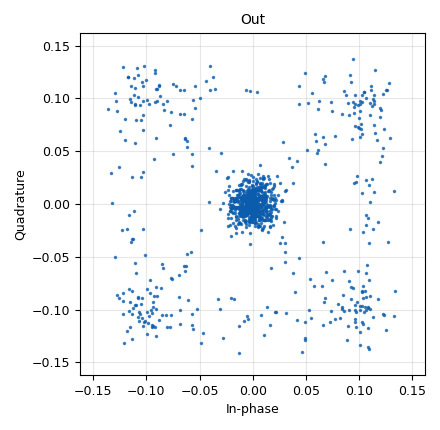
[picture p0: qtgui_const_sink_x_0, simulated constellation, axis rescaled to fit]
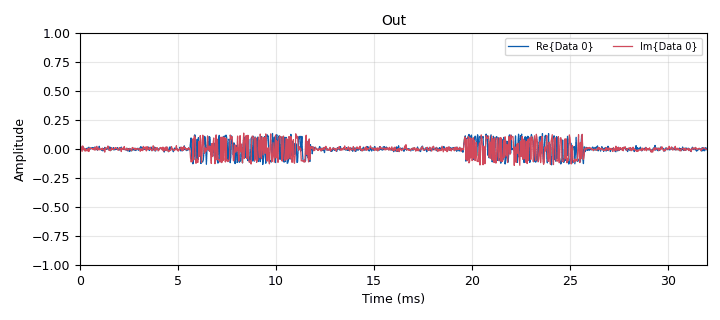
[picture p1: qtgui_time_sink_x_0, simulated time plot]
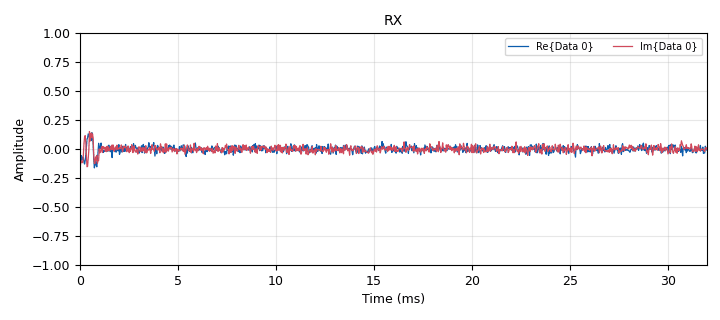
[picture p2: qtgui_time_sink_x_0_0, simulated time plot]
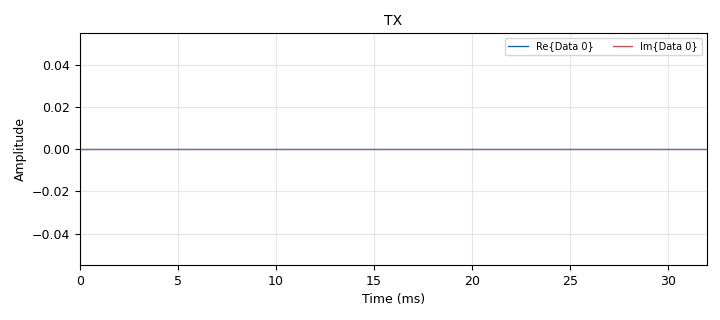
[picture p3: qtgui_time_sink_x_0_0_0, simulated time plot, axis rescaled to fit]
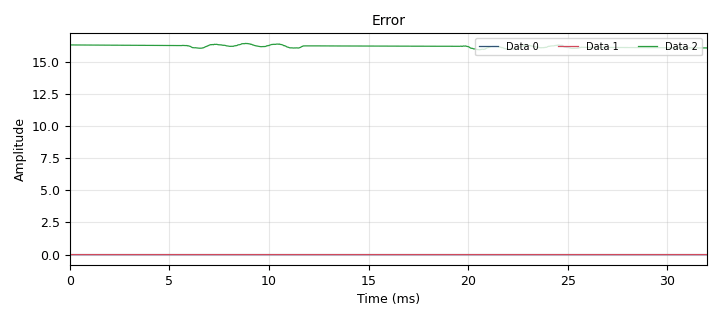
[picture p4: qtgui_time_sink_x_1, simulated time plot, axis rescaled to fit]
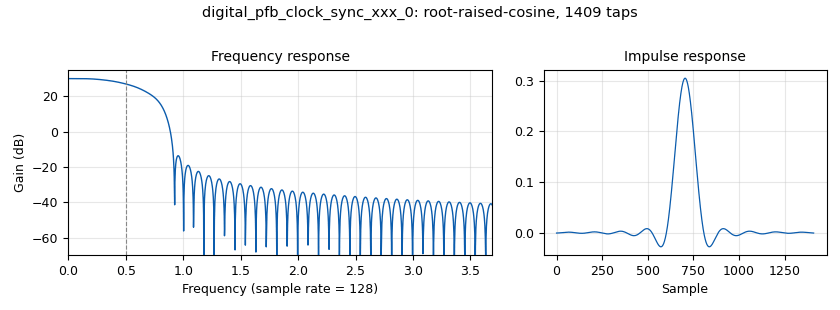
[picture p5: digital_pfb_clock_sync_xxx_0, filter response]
<?xml version='1.0' encoding='utf-8'?>
<?grc format='1' created='3.7.8'?>
<flow_graph>
<block>
<key>options</key>
<param><key>id</key><value>top_block</value></param>
<param><key>category</key><value>Custom</value></param>
<param><key>generate_options</key><value>qt_gui</value></param>
</block>
<block>
<key>variable_qtgui_range</key>
<param><key>id</key><value>range_loop_bw</value></param>
<param><key>value</key><value>0.06</value></param>
<param><key>label</key><value>Loop BW</value></param>
<param><key>orient</key><value>Qt.Horizontal</value></param>
<param><key>start</key><value>0</value></param>
<param><key>step</key><value>0.01</value></param>
<param><key>stop</key><value>1</value></param>
</block>
<block>
<key>variable_qtgui_range</key>
<param><key>id</key><value>range_tx_ampl</value></param>
<param><key>value</key><value>0.1</value></param>
<param><key>label</key><value>Ampl</value></param>
<param><key>orient</key><value>Qt.Horizontal</value></param>
<param><key>start</key><value>0</value></param>
<param><key>step</key><value>0.01</value></param>
<param><key>stop</key><value>1</value></param>
</block>
<block>
<key>variable</key>
<param><key>id</key><value>samp_rate</value></param>
<param><key>value</key><value>32000</value></param>
</block>
<block>
<key>analog_fastnoise_source_x</key>
<param><key>id</key><value>analog_fastnoise_source_x_0</value></param>
<param><key>amp</key><value>1</value></param>
<param><key>_enabled</key><value>False</value></param>
<param><key>noise_type</key><value>analog.GR_GAUSSIAN</value></param>
<param><key>type</key><value>complex</value></param>
<param><key>seed</key><value>0</value></param>
<param><key>samples</key><value>8192</value></param>
</block>
<block>
<key>blocks_message_strobe</key>
<param><key>id</key><value>blocks_message_strobe_0</value></param>
<param><key>msg</key><value>pmt.intern("TEST")</value></param>
<param><key>period</key><value>1000</value></param>
</block>
<block>
<key>blocks_multiply_const_vxx</key>
<param><key>id</key><value>blocks_multiply_const_vxx_0</value></param>
<param><key>const</key><value>range_tx_ampl</value></param>
<param><key>type</key><value>complex</value></param>
</block>
<block>
<key>blocks_pdu_to_tagged_stream</key>
<param><key>id</key><value>blocks_pdu_to_tagged_stream_0</value></param>
<param><key>type</key><value>byte</value></param>
<param><key>tag</key><value>packet_len</value></param>
</block>
<block>
<key>blocks_random_pdu</key>
<param><key>id</key><value>blocks_random_pdu_0</value></param>
<param><key>mask</key><value>0xFF</value></param>
<param><key>length_modulo</key><value>1</value></param>
<param><key>maxsize</key><value>50</value></param>
<param><key>minsize</key><value>50</value></param>
</block>
<block>
<key>blocks_stream_to_tagged_stream</key>
<param><key>id</key><value>blocks_stream_to_tagged_stream_0</value></param>
<param><key>len_tag_key</key><value>"packet_len"</value></param>
<param><key>packet_len</key><value>1024</value></param>
<param><key>type</key><value>complex</value></param>
</block>
<block>
<key>blocks_tagged_stream_multiply_length</key>
<param><key>id</key><value>blocks_tagged_stream_multiply_length_0</value></param>
<param><key>type</key><value>complex</value></param>
<param><key>c</key><value>16</value></param>
<param><key>lengthtagname</key><value>"packet_len"</value></param>
</block>
<block>
<key>blocks_tagged_stream_mux</key>
<param><key>id</key><value>blocks_tagged_stream_mux_0</value></param>
<param><key>type</key><value>complex</value></param>
<param><key>lengthtagname</key><value>packet_len</value></param>
<param><key>maxoutbuf</key><value>16000</value></param>
<param><key>ninputs</key><value>2</value></param>
</block>
<block>
<key>blocks_throttle</key>
<param><key>id</key><value>blocks_throttle_0</value></param>
<param><key>samples_per_second</key><value>samp_rate</value></param>
<param><key>type</key><value>complex</value></param>
</block>
<block>
<key>blocks_vector_source_x</key>
<param><key>id</key><value>blocks_vector_source_x_0</value></param>
<param><key>type</key><value>complex</value></param>
<param><key>repeat</key><value>True</value></param>
<param><key>vector</key><value>(0,0)*128</value></param>
</block>
<block>
<key>channels_channel_model</key>
<param><key>id</key><value>channels_channel_model_0</value></param>
<param><key>block_tags</key><value>True</value></param>
<param><key>epsilon</key><value>1.02</value></param>
<param><key>freq_offset</key><value>0.0</value></param>
<param><key>noise_voltage</key><value>0.03</value></param>
<param><key>seed</key><value>0</value></param>
<param><key>taps</key><value>1.0 + 1.0j</value></param>
</block>
<block>
<key>digital_pfb_clock_sync_xxx</key>
<param><key>id</key><value>digital_pfb_clock_sync_xxx_0</value></param>
<param><key>filter_size</key><value>32</value></param>
<param><key>init_phase</key><value>16</value></param>
<param><key>loop_bw</key><value>range_loop_bw</value></param>
<param><key>max_dev</key><value>2</value></param>
<param><key>osps</key><value>1</value></param>
<param><key>sps</key><value>4</value></param>
<param><key>taps</key><value>gnuradio.filter.firdes.root_raised_cosine(32,32*4,1,0.8,44*32)</value></param>
<param><key>type</key><value>ccf</value></param>
</block>
<block>
<key>digital_psk_mod</key>
<param><key>id</key><value>digital_psk_mod_0</value></param>
<param><key>differential</key><value>False</value></param>
<param><key>excess_bw</key><value>0.8</value></param>
<param><key>mod_code</key><value>"none"</value></param>
<param><key>constellation_points</key><value>4</value></param>
<param><key>samples_per_symbol</key><value>4</value></param>
</block>
<block>
<key>import</key>
<param><key>id</key><value>import_0</value></param>
<param><key>import</key><value>import gnuradio</value></param>
</block>
<block>
<key>qtgui_const_sink_x</key>
<param><key>id</key><value>qtgui_const_sink_x_0</value></param>
<param><key>gui_hint</key><value>tab@1</value></param>
<param><key>name</key><value>"Out"</value></param>
<param><key>size</key><value>1024</value></param>
<param><key>type</key><value>complex</value></param>
</block>
<block>
<key>qtgui_time_sink_x</key>
<param><key>id</key><value>qtgui_time_sink_x_0</value></param>
<param><key>gui_hint</key><value>tab@1</value></param>
<param><key>color1</key><value>"blue"</value></param>
<param><key>label1</key><value></value></param>
<param><key>color2</key><value>"red"</value></param>
<param><key>label2</key><value></value></param>
<param><key>name</key><value>"Out"</value></param>
<param><key>size</key><value>1024</value></param>
<param><key>srate</key><value>samp_rate</value></param>
<param><key>type</key><value>complex</value></param>
</block>
<block>
<key>qtgui_time_sink_x</key>
<param><key>id</key><value>qtgui_time_sink_x_0_0</value></param>
<param><key>gui_hint</key><value>tab@0</value></param>
<param><key>color1</key><value>"blue"</value></param>
<param><key>label1</key><value></value></param>
<param><key>color2</key><value>"red"</value></param>
<param><key>label2</key><value></value></param>
<param><key>name</key><value>"RX"</value></param>
<param><key>size</key><value>1024</value></param>
<param><key>srate</key><value>samp_rate</value></param>
<param><key>type</key><value>complex</value></param>
</block>
<block>
<key>qtgui_time_sink_x</key>
<param><key>id</key><value>qtgui_time_sink_x_0_0_0</value></param>
<param><key>gui_hint</key><value>tab@0</value></param>
<param><key>color1</key><value>"blue"</value></param>
<param><key>label1</key><value></value></param>
<param><key>color2</key><value>"red"</value></param>
<param><key>label2</key><value></value></param>
<param><key>name</key><value>"TX"</value></param>
<param><key>size</key><value>1024</value></param>
<param><key>srate</key><value>samp_rate</value></param>
<param><key>type</key><value>complex</value></param>
</block>
<block>
<key>qtgui_time_sink_x</key>
<param><key>id</key><value>qtgui_time_sink_x_1</value></param>
<param><key>gui_hint</key><value>tab@2</value></param>
<param><key>color1</key><value>"blue"</value></param>
<param><key>label1</key><value></value></param>
<param><key>color2</key><value>"red"</value></param>
<param><key>label2</key><value></value></param>
<param><key>color3</key><value>"green"</value></param>
<param><key>label3</key><value></value></param>
<param><key>name</key><value>"Error"</value></param>
<param><key>nconnections</key><value>3</value></param>
<param><key>size</key><value>1024</value></param>
<param><key>srate</key><value>samp_rate</value></param>
<param><key>type</key><value>float</value></param>
</block>
<block>
<key>qtgui_tab_widget</key>
<param><key>id</key><value>tab</value></param>
<param><key>label0</key><value>Tab 0</value></param>
<param><key>label1</key><value>Tab 1</value></param>
<param><key>label2</key><value>Tab 3</value></param>
<param><key>num_tabs</key><value>3</value></param>
</block>
<block>
<key>virtual_sink</key>
<param><key>id</key><value>virtual_sink_0</value></param>
<param><key>stream_id</key><value>tx</value></param>
</block>
<block>
<key>virtual_sink</key>
<param><key>id</key><value>virtual_sink_1</value></param>
<param><key>stream_id</key><value>rx</value></param>
</block>
<block>
<key>virtual_source</key>
<param><key>id</key><value>virtual_source_0</value></param>
<param><key>stream_id</key><value>tx</value></param>
</block>
<block>
<key>virtual_source</key>
<param><key>id</key><value>virtual_source_1</value></param>
<param><key>stream_id</key><value>rx</value></param>
</block>
<connection><source_block_id>analog_fastnoise_source_x_0</source_block_id><sink_block_id>blocks_stream_to_tagged_stream_0</sink_block_id><source_key>0</source_key><sink_key>0</sink_key></connection>
<connection><source_block_id>blocks_message_strobe_0</source_block_id><sink_block_id>blocks_random_pdu_0</sink_block_id><source_key>strobe</source_key><sink_key>generate</sink_key></connection>
<connection><source_block_id>blocks_multiply_const_vxx_0</source_block_id><sink_block_id>blocks_tagged_stream_mux_0</sink_block_id><source_key>0</source_key><sink_key>0</sink_key></connection>
<connection><source_block_id>blocks_pdu_to_tagged_stream_0</source_block_id><sink_block_id>digital_psk_mod_0</sink_block_id><source_key>0</source_key><sink_key>0</sink_key></connection>
<connection><source_block_id>blocks_random_pdu_0</source_block_id><sink_block_id>blocks_pdu_to_tagged_stream_0</sink_block_id><source_key>pdus</source_key><sink_key>pdus</sink_key></connection>
<connection><source_block_id>blocks_stream_to_tagged_stream_0</source_block_id><sink_block_id>blocks_tagged_stream_mux_0</sink_block_id><source_key>0</source_key><sink_key>1</sink_key></connection>
<connection><source_block_id>blocks_tagged_stream_multiply_length_0</source_block_id><sink_block_id>virtual_sink_0</sink_block_id><source_key>0</source_key><sink_key>0</sink_key></connection>
<connection><source_block_id>blocks_tagged_stream_mux_0</source_block_id><sink_block_id>channels_channel_model_0</sink_block_id><source_key>0</source_key><sink_key>0</sink_key></connection>
<connection><source_block_id>blocks_tagged_stream_mux_0</source_block_id><sink_block_id>qtgui_time_sink_x_0_0_0</sink_block_id><source_key>0</source_key><sink_key>0</sink_key></connection>
<connection><source_block_id>blocks_throttle_0</source_block_id><sink_block_id>qtgui_time_sink_x_0_0</sink_block_id><source_key>0</source_key><sink_key>0</sink_key></connection>
<connection><source_block_id>blocks_throttle_0</source_block_id><sink_block_id>virtual_sink_1</sink_block_id><source_key>0</source_key><sink_key>0</sink_key></connection>
<connection><source_block_id>blocks_vector_source_x_0</source_block_id><sink_block_id>blocks_stream_to_tagged_stream_0</sink_block_id><source_key>0</source_key><sink_key>0</sink_key></connection>
<connection><source_block_id>channels_channel_model_0</source_block_id><sink_block_id>blocks_throttle_0</sink_block_id><source_key>0</source_key><sink_key>0</sink_key></connection>
<connection><source_block_id>digital_pfb_clock_sync_xxx_0</source_block_id><sink_block_id>qtgui_time_sink_x_1</sink_block_id><source_key>1</source_key><sink_key>0</sink_key></connection>
<connection><source_block_id>digital_pfb_clock_sync_xxx_0</source_block_id><sink_block_id>qtgui_const_sink_x_0</sink_block_id><source_key>0</source_key><sink_key>0</sink_key></connection>
<connection><source_block_id>digital_pfb_clock_sync_xxx_0</source_block_id><sink_block_id>qtgui_time_sink_x_0</sink_block_id><source_key>0</source_key><sink_key>0</sink_key></connection>
<connection><source_block_id>digital_pfb_clock_sync_xxx_0</source_block_id><sink_block_id>qtgui_time_sink_x_1</sink_block_id><source_key>3</source_key><sink_key>2</sink_key></connection>
<connection><source_block_id>digital_pfb_clock_sync_xxx_0</source_block_id><sink_block_id>qtgui_time_sink_x_1</sink_block_id><source_key>2</source_key><sink_key>1</sink_key></connection>
<connection><source_block_id>digital_psk_mod_0</source_block_id><sink_block_id>blocks_tagged_stream_multiply_length_0</sink_block_id><source_key>0</source_key><sink_key>0</sink_key></connection>
<connection><source_block_id>virtual_source_0</source_block_id><sink_block_id>blocks_multiply_const_vxx_0</sink_block_id><source_key>0</source_key><sink_key>0</sink_key></connection>
<connection><source_block_id>virtual_source_1</source_block_id><sink_block_id>digital_pfb_clock_sync_xxx_0</sink_block_id><source_key>0</source_key><sink_key>0</sink_key></connection>
</flow_graph>
